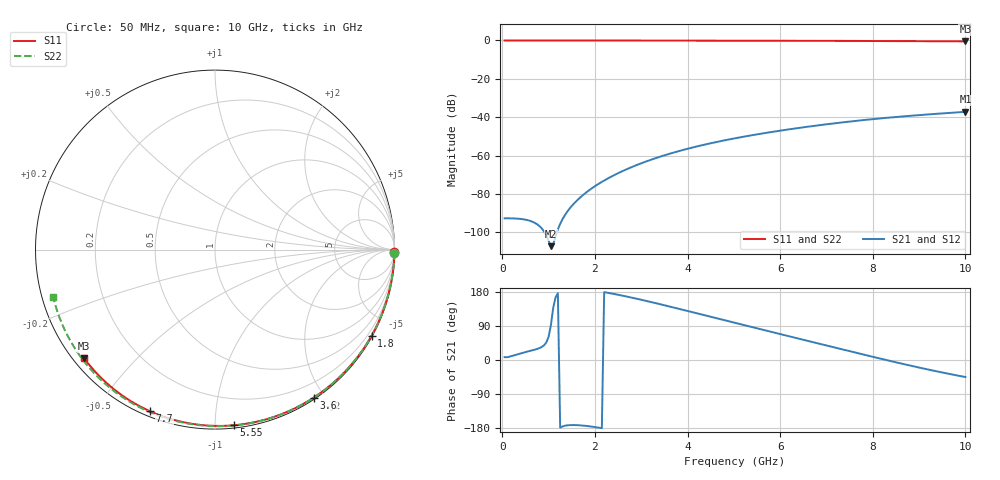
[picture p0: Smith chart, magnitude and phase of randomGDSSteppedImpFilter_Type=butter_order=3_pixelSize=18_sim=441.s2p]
! freq	dB(S11)	phase(S11)	dB(S12)	phase(S12)
!  dB(S21)	phase(S21)	dB(S22)	phase(S22)
!S-par simulation data
#  GHz  S  DB  R 50
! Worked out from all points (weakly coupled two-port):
!   200 points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, 50 MHz to 10 GHz, reference 50 ohm
!   highest |S21| = -37.18 dB at 10 GHz (marker M1); lowest = -107.2 dB at 1.05 GHz (marker M2)
!   lowest |S11| = -0.5 dB at 10 GHz (marker M3), VSWR 37.42, Z = 1.51 - j18.1 ohm
!   |S11| at or under -10 dB: nowhere
!   |S22| runs from -0.5 to 0.0 dB; largest |S21 - S12| = 0
!   S11 on the Smith chart (normalised r, x): 50 MHz: open; 1.8 GHz: 0.03, -3.89; 3.6 GHz: 0.02, -1.87; 5.55 GHz: 0.02, -1.11; 7.7 GHz: 0.02, -0.68; 10 GHz: 0.03, -0.36
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0.05  -0.00 -0.8  -92.68 7.5  -92.68 7.5  -0.00 -0.9
0.55  -0.01 -8.9  -93.64 22.5  -93.64 22.5  -0.01 -10.3
1.05  -0.02 -16.9  -107.19 92.5  -107.19 92.5  -0.02 -19.6
1.75  -0.04 -28.0  -80.40 -173.1  -80.40 -173.1  -0.04 -32.3
1.8  -0.04 -28.8  -79.42 -173.8  -79.42 -173.8  -0.04 -33.3
1.95  -0.04 -31.1  -76.76 -176.1  -76.76 -176.1  -0.05 -36.0
2.1  -0.04 -33.5  -74.41 -178.8  -74.41 -178.8  -0.05 -38.6
2.3  -0.05 -36.6  -71.63 176.9  -71.63 176.9  -0.05 -42.2
2.5  -0.05 -39.7  -69.17 172.2  -69.17 172.2  -0.06 -45.7
2.9  -0.06 -45.8  -64.94 161.8  -64.94 161.8  -0.07 -52.7
3.4  -0.07 -53.3  -60.62 147.5  -60.62 147.5  -0.08 -61.3
3.6  -0.08 -56.2  -59.12 141.5  -59.12 141.5  -0.09 -64.7
4.25  -0.09 -65.7  -54.94 121.7  -54.94 121.7  -0.11 -75.5
5.05  -0.12 -77.0  -50.86 97.2  -50.86 97.2  -0.14 -88.4
5.55  -0.14 -83.8  -48.72 82.0  -48.72 82.0  -0.16 -96.3
6.1  -0.16 -91.2  -46.63 65.3  -46.63 65.3  -0.19 -104.8
6.7  -0.19 -99.1  -44.61 47.3  -44.61 47.3  -0.22 -113.9
7.2  -0.22 -105.5  -43.10 32.2  -43.10 32.2  -0.26 -121.4
7.7  -0.26 -111.9  -41.74 17.3  -41.74 17.3  -0.30 -128.8
8.35  -0.31 -120.0  -40.20 -1.8  -40.20 -1.8  -0.36 -138.5
9.2  -0.39 -130.5  -38.53 -25.3  -38.53 -25.3  -0.45 -151.3
10  -0.46 -140.3  -37.18 -44.9  -37.18 -44.9  -0.54 -163.6
